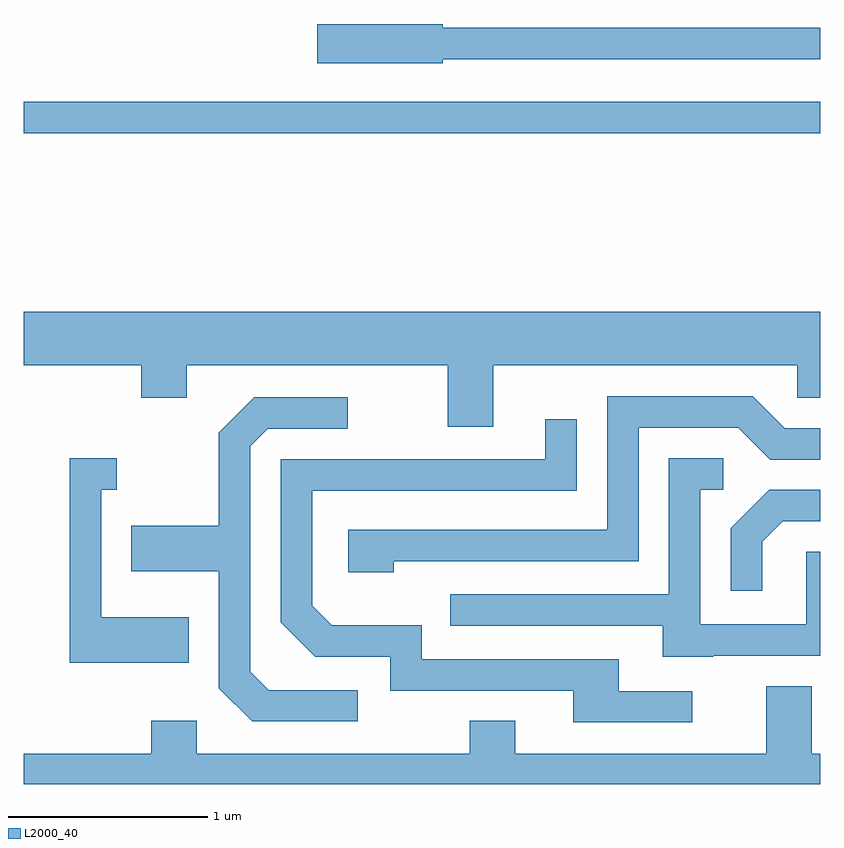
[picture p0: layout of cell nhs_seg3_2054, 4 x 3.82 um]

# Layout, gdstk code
import gdstk
lib = gdstk.Library(unit=1e-6, precision=1e-09)
def R(c, l, rs):  # rectangles x0, y0, x1, y1
    for r in rs: c.add(gdstk.rectangle(r[:2], r[2:], *l))
def P(c, l, *ps):  # polygons
    for p in ps: c.add(gdstk.Polygon(p, *l))
L2000_40 = (2000, 40)

nhs_seg3_2054 = lib.new_cell('nhs_seg3_2054')
R(nhs_seg3_2054, L2000_40, [(245.611,1147.161,249.611,1147.319)])
P(nhs_seg3_2054, L2000_40, [(247.714,1147.531),(249.611,1147.531),(249.611,1147.689),(247.714,1147.689),(247.714,1147.709),(247.086,1147.709),(247.086,1147.511),(247.714,1147.511)],
  [(247.969,1145.996),(249.496,1145.996),(249.496,1145.831),(249.611,1145.831),(249.611,1146.264),(245.611,1146.264),(245.611,1145.996),(246.201,1145.996),(246.201,1145.831),(246.429,1145.831),(246.429,1145.996),(247.741,1145.996),(247.741,1145.686),(247.969,1145.686)],
  [(247.469,1145.011),(248.699,1145.011),(248.699,1145.681),(249.199,1145.681),(249.359,1145.521),(249.611,1145.521),(249.611,1145.679),(249.432,1145.679),(249.272,1145.839),(248.541,1145.839),(248.541,1145.169),(247.241,1145.169),(247.241,1144.956),(247.469,1144.956)],
  [(247.288,1144.364),(246.842,1144.364),(246.749,1144.457),(246.749,1145.589),(246.837,1145.676),(247.238,1145.676),(247.238,1145.834),(246.769,1145.834),(246.591,1145.657),(246.591,1145.189),(246.151,1145.189),(246.151,1144.961),(246.591,1144.961),(246.591,1144.374),(246.759,1144.206),(247.288,1144.206)],
  [(248.968,1144.359),(248.599,1144.359),(248.599,1144.519),(247.609,1144.519),(247.609,1144.689),(247.157,1144.689),(247.059,1144.787),(247.059,1145.366),(248.389,1145.366),(248.389,1145.723),(248.231,1145.723),(248.231,1145.524),(246.901,1145.524),(246.901,1144.704),(247.074,1144.531),(247.451,1144.531),(247.451,1144.361),(248.371,1144.361),(248.371,1144.201),(248.968,1144.201)],
  [(249.075,1144.536),(249.611,1144.536),(249.611,1145.059),(249.541,1145.059),(249.541,1144.694),(249.009,1144.694),(249.009,1145.371),(249.123,1145.371),(249.123,1145.529),(248.851,1145.529),(248.851,1144.844),(247.753,1144.844),(247.753,1144.686),(248.821,1144.686),(248.821,1144.531),(249.075,1144.531)],
  [(246.439,1144.729),(245.999,1144.729),(245.999,1145.371),(246.078,1145.371),(246.078,1145.529),(245.841,1145.529),(245.841,1144.501),(246.439,1144.501)],
  [(249.319,1145.109),(249.422,1145.211),(249.611,1145.211),(249.611,1145.369),(249.354,1145.369),(249.161,1145.177),(249.161,1144.863),(249.319,1144.863)],
  [(249.611,1144.044),(249.569,1144.044),(249.569,1144.384),(249.341,1144.384),(249.341,1144.044),(248.079,1144.044),(248.079,1144.209),(247.851,1144.209),(247.851,1144.044),(246.479,1144.044),(246.479,1144.209),(246.251,1144.209),(246.251,1144.044),(245.611,1144.044),(245.611,1143.892),(249.611,1143.892)])

lib.write_gds('nhs_seg3_2054.gds')
